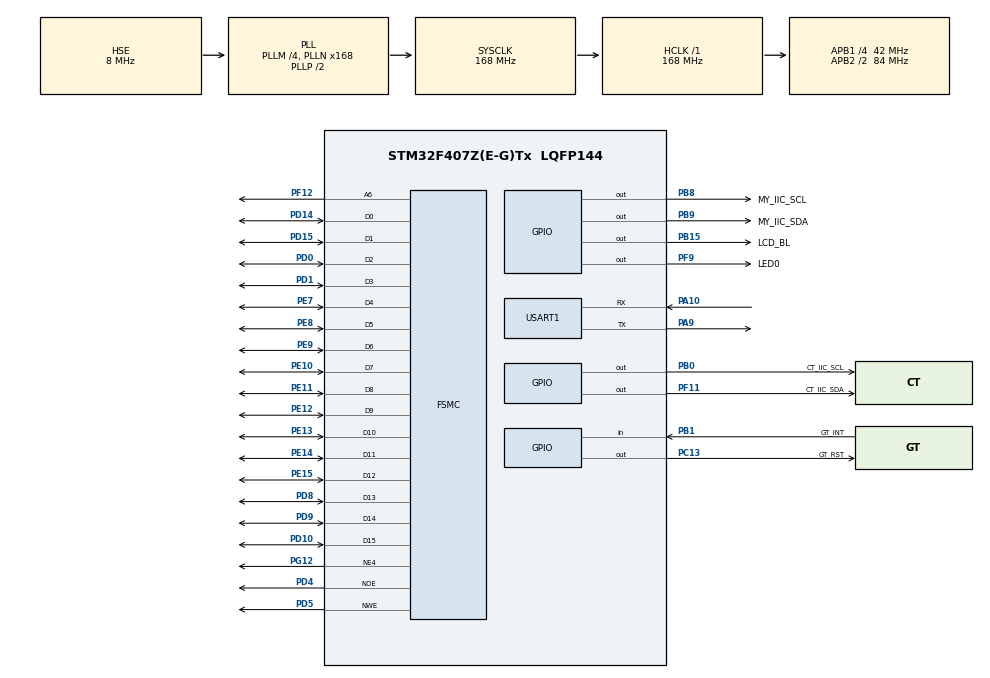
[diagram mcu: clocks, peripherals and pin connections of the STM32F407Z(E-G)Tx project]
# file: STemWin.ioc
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FSMC.AddressSetupTime4=2
FSMC.DataSetupTime4=5
FSMC.ExtendedAddressSetupTime4=0
FSMC.ExtendedDataSetupTime4=3
FSMC.ExtendedMode4=FSMC_EXTENDED_MODE_ENABLE
Mcu.Family=STM32F4
Mcu.Name=STM32F407Z(E-G)Tx
Mcu.Package=LQFP144
NVIC.PriorityGroup=NVIC_PRIORITYGROUP_4
NVIC.TIM3_IRQn=true\:1\:0\:true\:false\:true\:true\:true
NVIC.TIM4_IRQn=true\:2\:0\:true\:false\:true\:true\:true
NVIC.TIM5_IRQn=true\:3\:0\:true\:false\:true\:true\:true
PA10.Mode=Asynchronous
PA10.Signal=USART1_RX
PA13.Mode=Serial_Wire
PA13.Signal=SYS_JTMS-SWDIO
PA14.Mode=Serial_Wire
PA14.Signal=SYS_JTCK-SWCLK
PA9.Mode=Asynchronous
PA9.Signal=USART1_TX
PB0.GPIO_Label=CT_IIC_SCL
PB0.GPIO_PuPd=GPIO_PULLUP
PB0.GPIO_Speed=GPIO_SPEED_FREQ_VERY_HIGH
PB0.PinState=GPIO_PIN_SET
PB0.Signal=GPIO_Output
PB1.GPIO_Label=GT_INT
PB1.GPIO_PuPd=GPIO_PULLUP
PB1.Signal=GPIO_Input
PB15.GPIO_Label=LCD_BL
PB15.Signal=GPIO_Output
PB8.GPIO_Label=MY_IIC_SCL
PB8.GPIO_PuPd=GPIO_PULLUP
PB8.GPIO_Speed=GPIO_SPEED_FREQ_HIGH
PB8.PinState=GPIO_PIN_SET
PB8.Signal=GPIO_Output
PB9.GPIO_Label=MY_IIC_SDA
PB9.GPIO_PuPd=GPIO_PULLUP
PB9.GPIO_Speed=GPIO_SPEED_FREQ_HIGH
PB9.PinState=GPIO_PIN_SET
PB9.Signal=GPIO_Output
PC13-ANTI_TAMP.GPIO_Label=GT_RST
PC13-ANTI_TAMP.GPIO_PuPd=GPIO_PULLUP
PC13-ANTI_TAMP.GPIO_Speed=GPIO_SPEED_FREQ_LOW
PC13-ANTI_TAMP.PinState=GPIO_PIN_RESET
PC13-ANTI_TAMP.Signal=GPIO_Output
PD0.Signal=FSMC_D2_DA2
PD1.Signal=FSMC_D3_DA3
PD10.Signal=FSMC_D15_DA15
PD14.Signal=FSMC_D0_DA0
PD15.Signal=FSMC_D1_DA1
PD4.Signal=FSMC_NOE
PD5.Signal=FSMC_NWE
PD8.Signal=FSMC_D13_DA13
PD9.Signal=FSMC_D14_DA14
PE10.Signal=FSMC_D7_DA7
PE11.Signal=FSMC_D8_DA8
PE12.Signal=FSMC_D9_DA9
PE13.Signal=FSMC_D10_DA10
PE14.Signal=FSMC_D11_DA11
PE15.Signal=FSMC_D12_DA12
PE7.Signal=FSMC_D4_DA4
PE8.Signal=FSMC_D5_DA5
PE9.Signal=FSMC_D6_DA6
PF11.GPIO_Label=CT_IIC_SDA
PF11.GPIO_ModeDefaultOutputPP=GPIO_MODE_OUTPUT_PP
PF11.GPIO_PuPd=GPIO_PULLUP
PF11.GPIO_Speed=GPIO_SPEED_FREQ_VERY_HIGH
PF11.PinState=GPIO_PIN_SET
PF11.Signal=GPIO_Output
PF12.Signal=FSMC_A6
PF9.GPIO_Label=LED0
PF9.PinState=GPIO_PIN_SET
PF9.Signal=GPIO_Output
PG12.Mode=NorPsramChipSelect4_4
PG12.Signal=FSMC_NE4
PH0-OSC_IN.Mode=HSE-External-Oscillator
PH0-OSC_IN.Signal=RCC_OSC_IN
PH1-OSC_OUT.Mode=HSE-External-Oscillator
PH1-OSC_OUT.Signal=RCC_OSC_OUT
ProjectManager.HeapSize=0x200
ProjectManager.StackSize=0x400
ProjectManager.TargetToolchain=SW4STM32
RCC.48MHZClocksFreq_Value=84000000
RCC.AHBFreq_Value=168000000
RCC.APB1CLKDivider=RCC_HCLK_DIV4
RCC.APB1Freq_Value=42000000
RCC.APB1TimFreq_Value=84000000
RCC.APB2CLKDivider=RCC_HCLK_DIV2
RCC.APB2Freq_Value=84000000
RCC.APB2TimFreq_Value=168000000
RCC.CortexFreq_Value=168000000
RCC.HCLKFreq_Value=168000000
RCC.HSE_VALUE=8000000
RCC.HSI_VALUE=16000000
RCC.LSE_VALUE=32768
RCC.PLLM=4
RCC.PLLN=168
RCC.PLLSourceVirtual=RCC_PLLSOURCE_HSE
RCC.SYSCLKFreq_VALUE=168000000
RCC.SYSCLKSource=RCC_SYSCLKSOURCE_PLLCLK
RCC.VCOOutputFreq_Value=336000000
SH.FSMC_A6.0=FSMC_A6,A6_4
SH.FSMC_D0_DA0.0=FSMC_D0,16b-d4
SH.FSMC_D10_DA10.0=FSMC_D10,16b-d4
SH.FSMC_D11_DA11.0=FSMC_D11,16b-d4
SH.FSMC_D12_DA12.0=FSMC_D12,16b-d4
SH.FSMC_D13_DA13.0=FSMC_D13,16b-d4
SH.FSMC_D14_DA14.0=FSMC_D14,16b-d4
SH.FSMC_D15_DA15.0=FSMC_D15,16b-d4
SH.FSMC_D1_DA1.0=FSMC_D1,16b-d4
SH.FSMC_D2_DA2.0=FSMC_D2,16b-d4
SH.FSMC_D3_DA3.0=FSMC_D3,16b-d4
SH.FSMC_D4_DA4.0=FSMC_D4,16b-d4
SH.FSMC_D5_DA5.0=FSMC_D5,16b-d4
SH.FSMC_D6_DA6.0=FSMC_D6,16b-d4
SH.FSMC_D7_DA7.0=FSMC_D7,16b-d4
SH.FSMC_D8_DA8.0=FSMC_D8,16b-d4
SH.FSMC_D9_DA9.0=FSMC_D9,16b-d4
SH.FSMC_NOE.0=FSMC_NOE,Lcd4
SH.FSMC_NWE.0=FSMC_NWE,Lcd4
TIM3.AutoReloadPreload=TIM_AUTORELOAD_PRELOAD_ENABLE
TIM3.Period=999
TIM3.Prescaler=83
TIM4.AutoReloadPreload=TIM_AUTORELOAD_PRELOAD_ENABLE
TIM4.Period=999
TIM4.Prescaler=839
TIM5.AutoReloadPreload=TIM_AUTORELOAD_PRELOAD_ENABLE
TIM5.Period=8399
TIM5.Prescaler=4999
USART1.VirtualMode=VM_ASYNC
VP_CRC_VS_CRC.Mode=CRC_Activate
VP_TIM3_VS_ClockSourceINT.Mode=Internal
VP_TIM4_VS_ClockSourceINT.Mode=Internal
VP_TIM5_VS_ClockSourceINT.Mode=Internal
board=custom

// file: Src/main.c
/* USER CODE BEGIN Header */
/**
  ******************************************************************************
  * @file           : main.c
  * @brief          : Main program body
  ******************************************************************************
  * @attention
  *
  * <h2><center>&copy; Copyright (c) 2020 STMicroelectronics.
  * All rights reserved.</center></h2>
  *
  * This software component is licensed by ST under BSD 3-Clause license,
  * the "License"; You may not use this file except in compliance with the
  * License. You may obtain a copy of the License at:
  *                        opensource.org/licenses/BSD-3-Clause
  *
  ******************************************************************************
  */
/* USER CODE END Header */
#include "main.h"
#include "crc.h"
#include "tim.h"
#include "usart.h"
#include "gpio.h"
#include "fsmc.h"

/* USER CODE BEGIN Includes */
#include <stdio.h>
#include "retarget.h"
#include "ILI93xx.h"
#include "GUI.h"
#include "touch.h"
#include "emwinDemo.h"
#include "DIALOG.h"
/* USER CODE END Includes */

void SystemClock_Config(void);

int main(void)
{

  /* MCU Configuration--------------------------------------------------------*/

  /* Reset of all peripherals, Initializes the Flash interface and the Systick. */
  HAL_Init();

  /* Configure the system clock */
  SystemClock_Config();

  /* Initialize all configured peripherals */
  MX_GPIO_Init();
  MX_USART1_UART_Init();
  MX_FSMC_Init();
  MX_CRC_Init();
  MX_TIM4_Init();
  MX_TIM5_Init();
  MX_TIM3_Init();
  /* USER CODE BEGIN 2 */
    RetargetInit(&huart1);
    TFTLCD_Init();
    TP_Init();
    WM_SetCreateFlags(WM_CF_MEMDEV);
    GUI_Init();

    HAL_TIM_Base_Start_IT(&htim3);
    HAL_TIM_Base_Start_IT(&htim4);
    HAL_TIM_Base_Start_IT(&htim5);

    emwinDemo();

  /* USER CODE END 2 */

  /* Infinite loop */
  while (1)
  {

    /* USER CODE BEGIN 3 */
      GUI_Delay(1);
  }
  /* USER CODE END 3 */
}

void SystemClock_Config(void)
{
  RCC_OscInitTypeDef RCC_OscInitStruct = {0};
  RCC_ClkInitTypeDef RCC_ClkInitStruct = {0};

  /** Configure the main internal regulator output voltage
  */
  __HAL_RCC_PWR_CLK_ENABLE();
  __HAL_PWR_VOLTAGESCALING_CONFIG(PWR_REGULATOR_VOLTAGE_SCALE1);
  /** Initializes the RCC Oscillators according to the specified parameters
  * in the RCC_OscInitTypeDef structure.
  */
  RCC_OscInitStruct.OscillatorType = RCC_OSCILLATORTYPE_HSE;
  RCC_OscInitStruct.HSEState = RCC_HSE_ON;
  RCC_OscInitStruct.PLL.PLLState = RCC_PLL_ON;
  RCC_OscInitStruct.PLL.PLLSource = RCC_PLLSOURCE_HSE;
  RCC_OscInitStruct.PLL.PLLM = 4;
  RCC_OscInitStruct.PLL.PLLN = 168;
  RCC_OscInitStruct.PLL.PLLP = RCC_PLLP_DIV2;
  RCC_OscInitStruct.PLL.PLLQ = 4;
  if (HAL_RCC_OscConfig(&RCC_OscInitStruct) != HAL_OK)
  {
    Error_Handler();
  }
  /** Initializes the CPU, AHB and APB buses clocks
  */
  RCC_ClkInitStruct.ClockType = RCC_CLOCKTYPE_HCLK|RCC_CLOCKTYPE_SYSCLK
                              |RCC_CLOCKTYPE_PCLK1|RCC_CLOCKTYPE_PCLK2;
  RCC_ClkInitStruct.SYSCLKSource = RCC_SYSCLKSOURCE_PLLCLK;
  RCC_ClkInitStruct.AHBCLKDivider = RCC_SYSCLK_DIV1;
  RCC_ClkInitStruct.APB1CLKDivider = RCC_HCLK_DIV4;
  RCC_ClkInitStruct.APB2CLKDivider = RCC_HCLK_DIV2;

  if (HAL_RCC_ClockConfig(&RCC_ClkInitStruct, FLASH_LATENCY_5) != HAL_OK)
  {
    Error_Handler();
  }
}

void Error_Handler(void)
{
}

/************************ (C) COPYRIGHT STMicroelectronics *****END OF FILE****/
